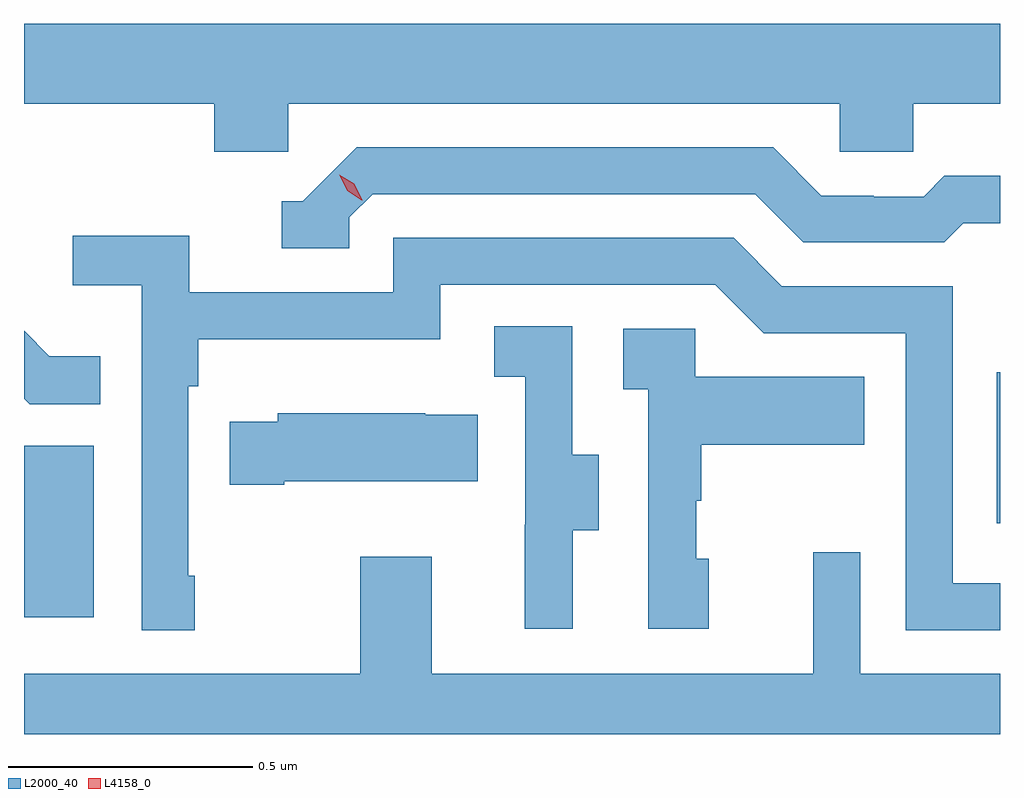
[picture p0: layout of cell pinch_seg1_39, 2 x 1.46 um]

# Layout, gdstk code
import gdstk
lib = gdstk.Library(unit=1e-6, precision=1e-09)
def R(c, l, rs):  # rectangles x0, y0, x1, y1
    for r in rs: c.add(gdstk.rectangle(r[:2], r[2:], *l))
def P(c, l, *ps):  # polygons
    for p in ps: c.add(gdstk.Polygon(p, *l))
L2000_40 = (2000, 40)
L4158_0 = (4158, 0)

pinch_seg1_39 = lib.new_cell('pinch_seg1_39')
R(pinch_seg1_39, L2000_40, [(1103.753,569.328,1103.896,569.679), (1105.746,569.52,1105.753,569.83)])
P(pinch_seg1_39, L2000_40, [(1104.294,570.38),(1105.425,570.38),(1105.425,570.282),(1105.575,570.282),(1105.575,570.38),(1105.753,570.38),(1105.753,570.544),(1103.753,570.544),(1103.753,570.38),(1104.143,570.38),(1104.143,570.282),(1104.294,570.282)],
  [(1104.42,570.147),(1104.468,570.195),(1105.251,570.195),(1105.35,570.096),(1105.639,570.096),(1105.678,570.135),(1105.753,570.135),(1105.753,570.232),(1105.639,570.232),(1105.597,570.189),(1105.494,570.189),(1105.494,570.192),(1105.387,570.192),(1105.288,570.291),(1104.435,570.291),(1104.324,570.18),(1104.281,570.18),(1104.281,570.084),(1104.42,570.084)],
  [(1104.103,569.413),(1104.09,569.413),(1104.09,569.801),(1104.11,569.801),(1104.11,569.897),(1104.606,569.897),(1104.606,570.009),(1105.17,570.009),(1105.269,569.91),(1105.56,569.91),(1105.56,569.301),(1105.753,569.301),(1105.753,569.397),(1105.656,569.397),(1105.656,570.006),(1105.306,570.006),(1105.207,570.105),(1104.51,570.105),(1104.51,569.994),(1104.092,569.994),(1104.092,570.11),(1103.853,570.11),(1103.853,570.008),(1103.994,570.008),(1103.994,569.301),(1104.103,569.301)],
  [(1104.877,569.506),(1104.931,569.506),(1104.931,569.661),(1104.876,569.661),(1104.876,569.924),(1104.717,569.924),(1104.717,569.821),(1104.78,569.821),(1104.78,569.517),(1104.779,569.517),(1104.779,569.304),(1104.877,569.304)],
  [(1105.156,569.448),(1105.131,569.448),(1105.131,569.567),(1105.141,569.567),(1105.141,569.681),(1105.475,569.681),(1105.475,569.821),(1105.128,569.821),(1105.128,569.919),(1104.981,569.919),(1104.981,569.795),(1105.032,569.795),(1105.032,569.304),(1105.156,569.304)],
  [(1103.909,569.863),(1103.805,569.863),(1103.753,569.915),(1103.753,569.776),(1103.765,569.764),(1103.909,569.764)],
  [(1104.286,569.606),(1104.683,569.606),(1104.683,569.743),(1104.575,569.743),(1104.575,569.746),(1104.273,569.746),(1104.273,569.728),(1104.175,569.728),(1104.175,569.599),(1104.286,569.599)],
  [(1105.753,569.212),(1105.467,569.212),(1105.467,569.461),(1105.37,569.461),(1105.37,569.212),(1104.589,569.212),(1104.589,569.452),(1104.442,569.452),(1104.442,569.212),(1103.753,569.212),(1103.753,569.088),(1105.753,569.088)])
P(pinch_seg1_39, L4158_0, [(1104.445,570.182),(1104.415,570.202),(1104.399,570.235),(1104.399,570.235),(1104.399,570.235),(1104.43,570.216),(1104.446,570.183),(1104.446,570.182)])

lib.write_gds('pinch_seg1_39.gds')
